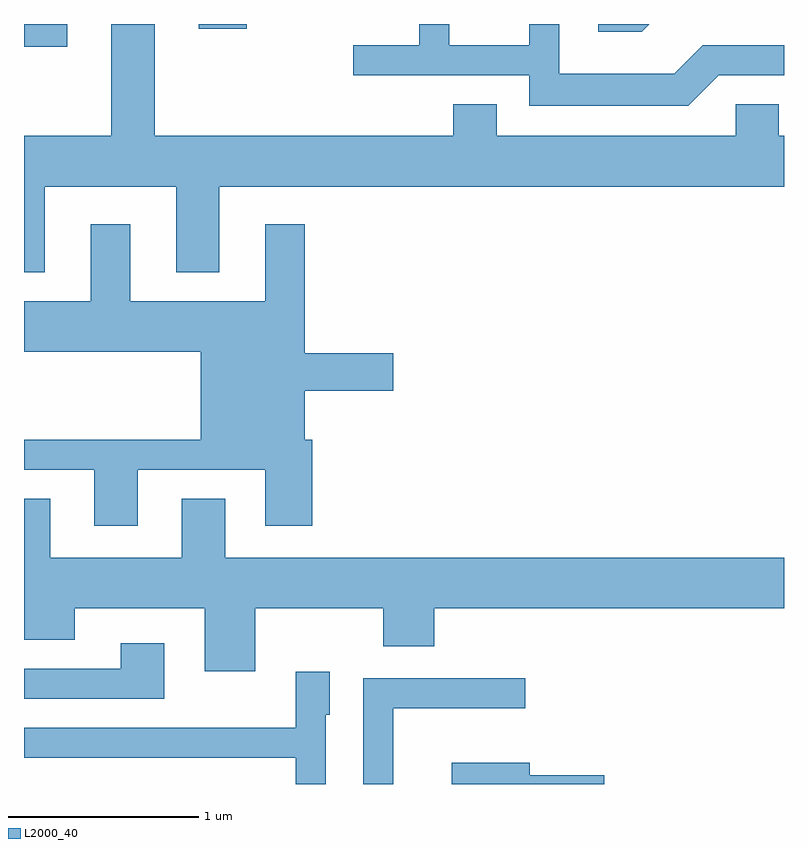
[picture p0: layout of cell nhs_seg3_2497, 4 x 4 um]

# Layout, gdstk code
import gdstk
lib = gdstk.Library(unit=1e-6, precision=1e-09)
def R(c, l, rs):  # rectangles x0, y0, x1, y1
    for r in rs: c.add(gdstk.rectangle(r[:2], r[2:], *l))
def P(c, l, *ps):  # polygons
    for p in ps: c.add(gdstk.Polygon(p, *l))
L2000_40 = (2000, 40)

nhs_seg3_2497 = lib.new_cell('nhs_seg3_2497')
R(nhs_seg3_2497, L2000_40, [(257.611,1217.771,257.839,1217.892), (258.531,1217.866,258.784,1217.892)])
P(nhs_seg3_2497, L2000_40, [(261.267,1217.621),(261.611,1217.621),(261.611,1217.779),(261.183,1217.779),(261.034,1217.629),(260.429,1217.629),(260.429,1217.892),(260.271,1217.892),(260.271,1217.779),(259.849,1217.779),(259.849,1217.892),(259.691,1217.892),(259.691,1217.779),(259.343,1217.779),(259.343,1217.621),(260.271,1217.621),(260.271,1217.461),(261.106,1217.461)],
  [(260.903,1217.892),(260.633,1217.892),(260.633,1217.851),(260.861,1217.851)],
  [(257.719,1217.036),(258.411,1217.036),(258.411,1216.586),(258.639,1216.586),(258.639,1217.036),(261.611,1217.036),(261.611,1217.304),(261.584,1217.304),(261.584,1217.469),(261.356,1217.469),(261.356,1217.304),(260.099,1217.304),(260.099,1217.469),(259.871,1217.469),(259.871,1217.304),(258.299,1217.304),(258.299,1217.892),(258.071,1217.892),(258.071,1217.304),(257.611,1217.304),(257.611,1216.586),(257.719,1216.586)],
  [(258.209,1215.546),(258.881,1215.546),(258.881,1215.251),(259.129,1215.251),(259.129,1215.704),(259.089,1215.704),(259.089,1215.961),(259.554,1215.961),(259.554,1216.159),(259.089,1216.159),(259.089,1216.839),(258.881,1216.839),(258.881,1216.434),(258.169,1216.434),(258.169,1216.839),(257.961,1216.839),(257.961,1216.434),(257.611,1216.434),(257.611,1216.166),(258.541,1216.166),(258.541,1215.704),(257.611,1215.704),(257.611,1215.546),(257.981,1215.546),(257.981,1215.251),(258.209,1215.251)],
  [(258.829,1214.816),(259.501,1214.816),(259.501,1214.616),(259.769,1214.616),(259.769,1214.816),(261.611,1214.816),(261.611,1215.084),(258.669,1215.084),(258.669,1215.394),(258.441,1215.394),(258.441,1215.084),(257.749,1215.084),(257.749,1215.394),(257.611,1215.394),(257.611,1214.651),(257.879,1214.651),(257.879,1214.816),(258.561,1214.816),(258.561,1214.486),(258.829,1214.486)],
  [(258.349,1214.634),(258.121,1214.634),(258.121,1214.499),(257.611,1214.499),(257.611,1214.341),(258.349,1214.341)],
  [(259.199,1214.256),(259.219,1214.256),(259.219,1214.484),(259.041,1214.484),(259.041,1214.189),(257.611,1214.189),(257.611,1214.031),(259.041,1214.031),(259.041,1213.892),(259.199,1213.892)],
  [(259.554,1214.291),(260.248,1214.291),(260.248,1214.449),(259.396,1214.449),(259.396,1213.892),(259.554,1213.892)],
  [(260.664,1213.939),(260.274,1213.939),(260.274,1214.004),(259.861,1214.004),(259.861,1213.892),(260.664,1213.892)])

lib.write_gds('nhs_seg3_2497.gds')
